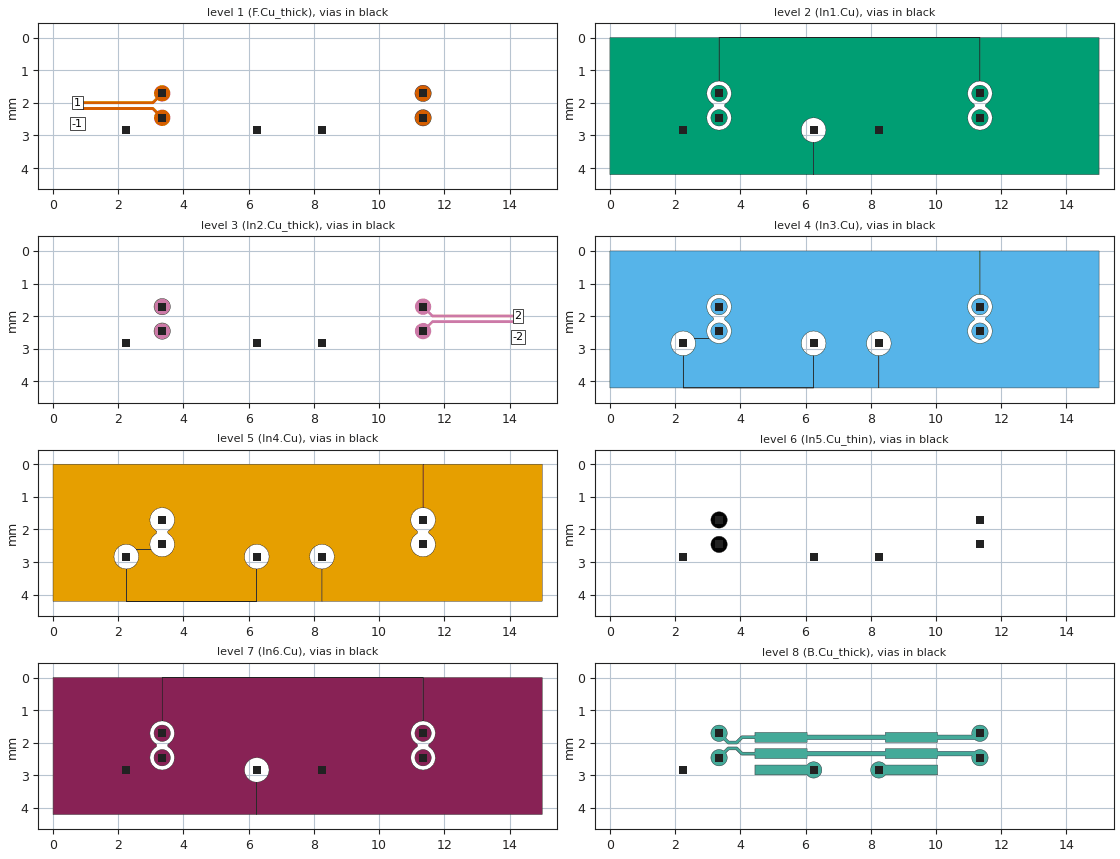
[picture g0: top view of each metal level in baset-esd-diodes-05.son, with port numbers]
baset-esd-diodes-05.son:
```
FTYP SONPROJ 19 ! Sonnet Project File
VER 18.56
HEADER
LIC antikernel2.1.52448
DAT 06/07/2023 00:24:25
BUILT_BY_CREATED dxf 18.56 06/07/2023 00:06:12
BUILT_BY_SAVED sonnet 18.56
MDATE 06/07/2023 00:24:25
HDATE 06/07/2023 00:24:25
ANN Created by dxfgeo, Sonnet Software Inc.
END HEADER
DIM
ANG DEG
CAP PF
CON /OH
FREQ GHZ
IND NH
LNG MM
RES OH
END DIM
CONTROL
VARSWP
OPTIONS  -dj
SPEED 1
CACHE_ABS 2
Q_ACC N
END CONTROL
GEO
TMET "Free Space" 0 FREESPACE 376.7303136 0 0 0
BMET "Free Space" 0 FREESPACE 376.7303136 0 0 0
MET "Copper_1oz_thin" 1 NOR 58000000 0.5 0.035 
MET "Copper_1oz_thick" 2 TMM 58000000 0.5 0.035 2
MET "Copper_0.5oz_thin" 4 NOR 58000000 0.5 0.017 
MET "Copper_0.5oz_thick" 12 TMM 58000000 0.5 0.017 2
MET "Copper_0.5oz_thick_down" 5 TMM 58000000 0.5 0.017 2 CDVY TDWN
MET "Copper_1oz_thick_down" 3 TMM 58000000 0.5 0.035 2 CDVY TDWN
BOX 10 15 4.2 3000 840 20 0
      5 1 1 0 0 0 0 "Air"
      0.04 3.5 1 0.025 0 0 0 "Soldermask"
      0.075 3.9 1 0.008 0 0 0 "TU-872_SLK"
      0.1 3.9 1 0.008 0 0 0 "TU-872_SLK"
      0.143 3.9 1 0.008 0 0 0 "TU-872_SLK"
      0.7 4.49 1 0.016 0 0 0 "Shengyi_S1000-2M"
      0.143 3.9 1 0.008 0 0 0 "TU-872_SLK"
      0.1 3.9 1 0.008 0 0 0 "TU-872_SLK"
      0.075 3.9 1 0.008 0 0 0 "TU-872_SLK"
      0.04 3.5 1 0.025 0 0 0 "Soldermask"
      5 1 1 0 0 0 0 "Air"
TECHLAY VIA Via1 L9D0 -13 -65534 CAD Via1 drawing 
VIA POLYGON
1 0 -1 N 798 1 1 100 100 0 0 0 Y
TOLEVEL 8 RING NOCOVERS
END
END
TECHLAY METAL F.Cu_thick L1D0 -2 -65534 CAD F.Cu_thick drawing 
1 0 1 N 521 1 1 100 100 0 0 0 Y
END
END
TECHLAY METAL F.Cu_thin <UNSPECIFIED> -1 -65534 CAD F.Cu_thin drawing 
1 0 0 N 523 1 1 100 100 0 0 0 Y
END
END
TECHLAY METAL In1.Cu L2D0 -3 -65534 CAD In1.Cu drawing 
2 0 0 N 526 1 1 100 100 0 0 0 Y
END
END
TECHLAY METAL In2.Cu_thick L3D0 -5 -65534 CAD In2.Cu_thick drawing 
3 0 3 N 529 1 1 100 100 0 0 0 Y
END
END
TECHLAY METAL In2.Cu_thin <UNSPECIFIED> -4 -65534 CAD In2.Cu drawing 
3 0 2 N 531 1 1 100 100 0 0 0 Y
END
END
TECHLAY METAL In3.Cu L4D0 -6 -65534 CAD In3.Cu drawing 
4 0 0 N 534 1 1 100 100 0 0 0 Y
END
END
TECHLAY METAL In4.Cu L5D0 -7 -65534 CAD In4.Cu drawing 
5 0 0 N 537 1 1 100 100 0 0 0 Y
END
END
TECHLAY METAL In5.Cu_thick L6D0 -9 -65534 CAD In5.Cu_thick drawing 
6 0 4 N 540 1 1 100 100 0 0 0 Y
END
END
TECHLAY METAL In5.Cu_thin <UNSPECIFIED> -8 -65534 CAD In5.Cu drawing 
6 0 2 N 542 1 1 100 100 0 0 0 Y
END
END
TECHLAY METAL In6.Cu L7D0 -10 -65534 CAD In6.Cu drawing 
7 0 0 N 545 1 1 100 100 0 0 0 Y
END
END
TECHLAY METAL B.Cu_thick L8D0 -12 -65534 CAD B.Cu_thick drawing 
8 0 5 N 548 1 1 100 100 0 0 0 Y
END
END
TECHLAY METAL B.Cu_thin <UNSPECIFIED> -11 -65534 CAD B.Cu_thin drawing 
8 0 0 N 550 1 1 100 100 0 0 0 Y
END
END
VALVAR CORE_ER NONE "table1(\"../../../sata-sniffer/sims/core_er.csv\",FREQ)" "Variable set in material file"
VALVAR CORE_DF NONE "table1(\"../../../sata-sniffer/sims/core_df.csv\",FREQ)" "Variable set in material file"
VALVAR PREPREG_DF NONE "table1(\"../../../sata-sniffer/sims/prepreg_df.csv\",FREQ)" "Variable set in material file"
VALVAR PREPREG_ER NONE "table1(\"../../../sata-sniffer/sims/prepreg_er.csv\",FREQ)" "Variable set in material file"
LORGN 0 4.2 U 
POR1 CUP Auto
GNDREF AUTO
TERMW FEED
POLY 669 1
70
1 100 0 0 0 0.75 1.993 
CUPGRP "Auto" LOCAL
ID 799
END
POR1 CUP Auto
GNDREF AUTO
TERMW FEED
POLY 668 1
44
-1 100 0 0 0 0.75 2.173 
CUPGRP "Auto" LOCAL
ID 800
END
POR1 CUP Auto
GNDREF AUTO
TERMW FEED
POLY 746 1
72
2 100 0 0 0 14.25 1.995 
CUPGRP "Auto" LOCAL
ID 801
END
POR1 CUP Auto
GNDREF AUTO
TERMW FEED
POLY 747 1
25
-2 100 0 0 0 14.25 2.1675 
CUPGRP "Auto" LOCAL
ID 802
END
NUM 37
1 74 1 N 669 1 1 100 100 0 0 0 Y
TLAYNAM F.Cu_thick INH
USER_DAT FromImport
3.073 2.037
3.077 2.035
3.082 2.034
3.085 2.032
3.093 2.026
3.096 2.023
3.098 2.02
3.205 1.913
3.218 1.922
3.24 1.934
3.263 1.943
3.286 1.951
3.31 1.955
3.335 1.958
3.359 1.958
3.384 1.955
3.408 1.951
3.431 1.943
3.454 1.934
3.476 1.922
3.496 1.909
3.515 1.893
3.532 1.876
3.548 1.857
3.561 1.837
3.573 1.815
3.582 1.792
3.59 1.769
3.594 1.745
3.597 1.72
3.597 1.696
3.594 1.671
3.59 1.647
3.582 1.624
3.573 1.601
3.561 1.579
3.548 1.559
3.532 1.54
3.515 1.523
3.496 1.507
3.476 1.494
3.454 1.482
3.431 1.473
3.408 1.465
3.384 1.461
3.359 1.458
3.335 1.458
3.31 1.461
3.286 1.465
3.263 1.473
3.24 1.482
3.218 1.494
3.198 1.507
3.179 1.523
3.162 1.54
3.146 1.559
3.133 1.579
3.121 1.601
3.112 1.624
3.104 1.647
3.1 1.671
3.097 1.696
3.097 1.72
3.1 1.745
3.104 1.769
3.112 1.792
3.121 1.815
3.133 1.837
3.142 1.85
3.044 1.948
0.75 1.948
0.75 2.038
3.069 2.038
3.073 2.037
END
1 72 1 N 668 1 1 100 100 0 0 0 Y
TLAYNAM F.Cu_thick INH
USER_DAT FromImport
3.384 2.705
3.408 2.701
3.431 2.693
3.454 2.684
3.476 2.672
3.496 2.659
3.515 2.643
3.532 2.626
3.548 2.607
3.561 2.587
3.573 2.565
3.582 2.542
3.59 2.519
3.594 2.495
3.597 2.47
3.597 2.446
3.594 2.421
3.59 2.397
3.582 2.374
3.573 2.351
3.561 2.329
3.548 2.309
3.532 2.29
3.515 2.273
3.496 2.257
3.476 2.244
3.454 2.232
3.431 2.223
3.408 2.215
3.384 2.211
3.359 2.208
3.335 2.208
3.31 2.211
3.286 2.215
3.263 2.223
3.24 2.232
3.218 2.244
3.205 2.253
3.089 2.137
3.085 2.134
3.081 2.132
3.077 2.131
3.073 2.129
3.069 2.128
0.75 2.128
0.75 2.218
3.044 2.218
3.142 2.316
3.133 2.329
3.121 2.351
3.112 2.374
3.104 2.397
3.1 2.421
3.097 2.446
3.097 2.47
3.1 2.495
3.104 2.519
3.112 2.542
3.121 2.565
3.133 2.587
3.146 2.607
3.162 2.626
3.179 2.643
3.198 2.659
3.218 2.672
3.24 2.684
3.263 2.693
3.286 2.701
3.31 2.705
3.335 2.708
3.359 2.708
3.384 2.705
END
1 65 1 N 46 1 1 100 100 0 0 0 Y
TLAYNAM F.Cu_thick INH
USER_DAT FromImport
11.335 2.708
11.31 2.705
11.286 2.701
11.263 2.693
11.24 2.684
11.218 2.672
11.198 2.659
11.179 2.643
11.162 2.626
11.146 2.607
11.133 2.587
11.121 2.565
11.112 2.542
11.104 2.519
11.1 2.495
11.097 2.47
11.097 2.446
11.1 2.421
11.104 2.397
11.112 2.374
11.121 2.351
11.133 2.329
11.146 2.309
11.162 2.29
11.179 2.273
11.198 2.257
11.218 2.244
11.24 2.232
11.263 2.223
11.286 2.215
11.31 2.211
11.335 2.208
11.359 2.208
11.384 2.211
11.408 2.215
11.431 2.223
11.454 2.232
11.476 2.244
11.496 2.257
11.515 2.273
11.532 2.29
11.548 2.309
11.561 2.329
11.573 2.351
11.582 2.374
11.59 2.397
11.594 2.421
11.597 2.446
11.597 2.47
11.594 2.495
11.59 2.519
11.582 2.542
11.573 2.565
11.561 2.587
11.548 2.607
11.532 2.626
11.515 2.643
11.496 2.659
11.476 2.672
11.454 2.684
11.431 2.693
11.408 2.701
11.384 2.705
11.359 2.708
11.335 2.708
END
1 65 1 N 47 1 1 100 100 0 0 0 Y
TLAYNAM F.Cu_thick INH
USER_DAT FromImport
11.335 1.958
11.31 1.955
11.286 1.951
11.263 1.943
11.24 1.934
11.218 1.922
11.198 1.909
11.179 1.893
11.162 1.876
11.146 1.857
11.133 1.837
11.121 1.815
11.112 1.792
11.104 1.769
11.1 1.745
11.097 1.72
11.097 1.696
11.1 1.671
11.104 1.647
11.112 1.624
11.121 1.601
11.133 1.579
11.146 1.559
11.162 1.54
11.179 1.523
11.198 1.507
11.218 1.494
11.24 1.482
11.263 1.473
11.286 1.465
11.31 1.461
11.335 1.458
11.359 1.458
11.384 1.461
11.408 1.465
11.431 1.473
11.454 1.482
11.476 1.494
11.496 1.507
11.515 1.523
11.532 1.54
11.548 1.559
11.561 1.579
11.573 1.601
11.582 1.624
11.59 1.647
11.594 1.671
11.597 1.696
11.597 1.72
11.594 1.745
11.59 1.769
11.582 1.792
11.573 1.815
11.561 1.837
11.548 1.857
11.532 1.876
11.515 1.893
11.496 1.909
11.476 1.922
11.454 1.934
11.431 1.943
11.408 1.951
11.384 1.955
11.359 1.958
11.335 1.958
END
VIA POLYGON
1 5 -1 N 479 1 1 100 100 0 0 0 Y
TOLEVEL 8 RING NOCOVERS
USER_DAT FromImport
2.122 2.958
2.122 2.708
2.372 2.708
2.372 2.958
2.122 2.958
END
VIA POLYGON
1 5 -1 N 480 1 1 100 100 0 0 0 Y
TOLEVEL 8 RING NOCOVERS
USER_DAT FromImport
6.122 2.958
6.122 2.708
6.372 2.708
6.372 2.958
6.122 2.958
END
VIA POLYGON
1 5 -1 N 481 1 1 100 100 0 0 0 Y
TOLEVEL 8 RING NOCOVERS
USER_DAT FromImport
8.122 2.958
8.122 2.708
8.372 2.708
8.372 2.958
8.122 2.958
END
VIA POLYGON
1 5 -1 N 482 1 1 100 100 0 0 0 Y
TOLEVEL 8 RING NOCOVERS
USER_DAT FromImport
3.222 2.583
3.222 2.333
3.472 2.333
3.472 2.583
3.222 2.583
END
VIA POLYGON
1 5 -1 N 483 1 1 100 100 0 0 0 Y
TOLEVEL 8 RING NOCOVERS
USER_DAT FromImport
11.222 2.583
11.222 2.333
11.472 2.333
11.472 2.583
11.222 2.583
END
VIA POLYGON
1 5 -1 N 484 1 1 100 100 0 0 0 Y
TOLEVEL 8 RING NOCOVERS
USER_DAT FromImport
3.222 1.833
3.222 1.583
3.472 1.583
3.472 1.833
3.222 1.833
END
VIA POLYGON
1 5 -1 N 485 1 1 100 100 0 0 0 Y
TOLEVEL 8 RING NOCOVERS
USER_DAT FromImport
11.222 1.833
11.222 1.583
11.472 1.583
11.472 1.833
11.222 1.833
END
2 65 0 N 91 1 1 100 100 0 0 0 Y
TLAYNAM In1.Cu INH
USER_DAT FromImport
11.335 1.958
11.31 1.955
11.286 1.951
11.263 1.943
11.24 1.934
11.218 1.922
11.198 1.909
11.179 1.893
11.162 1.876
11.146 1.857
11.133 1.837
11.121 1.815
11.112 1.792
11.104 1.769
11.1 1.745
11.097 1.72
11.097 1.696
11.1 1.671
11.104 1.647
11.112 1.624
11.121 1.601
11.133 1.579
11.146 1.559
11.162 1.54
11.179 1.523
11.198 1.507
11.218 1.494
11.24 1.482
11.263 1.473
11.286 1.465
11.31 1.461
11.335 1.458
11.359 1.458
11.384 1.461
11.408 1.465
11.431 1.473
11.454 1.482
11.476 1.494
11.496 1.507
11.515 1.523
11.532 1.54
11.548 1.559
11.561 1.579
11.573 1.601
11.582 1.624
11.59 1.647
11.594 1.671
11.597 1.696
11.597 1.72
11.594 1.745
11.59 1.769
11.582 1.792
11.573 1.815
11.561 1.837
11.548 1.857
11.532 1.876
11.515 1.893
11.496 1.909
11.476 1.922
11.454 1.934
11.431 1.943
11.408 1.951
11.384 1.955
11.359 1.958
11.335 1.958
END
2 65 0 N 88 1 1 100 100 0 0 0 Y
TLAYNAM In1.Cu INH
USER_DAT FromImport
3.335 2.708
3.31 2.705
3.286 2.701
3.263 2.693
3.24 2.684
3.218 2.672
3.198 2.659
3.179 2.643
3.162 2.626
3.146 2.607
3.133 2.587
3.121 2.565
3.112 2.542
3.104 2.519
3.1 2.495
3.097 2.47
3.097 2.446
3.1 2.421
3.104 2.397
3.112 2.374
3.121 2.351
3.133 2.329
3.146 2.309
3.162 2.29
3.179 2.273
3.198 2.257
3.218 2.244
3.24 2.232
3.263 2.223
3.286 2.215
3.31 2.211
3.335 2.208
3.359 2.208
3.384 2.211
3.408 2.215
3.431 2.223
3.454 2.232
3.476 2.244
3.496 2.257
3.515 2.273
3.532 2.29
3.548 2.309
3.561 2.329
3.573 2.351
3.582 2.374
3.59 2.397
3.594 2.421
3.597 2.446
3.597 2.47
3.594 2.495
3.59 2.519
3.582 2.542
3.573 2.565
3.561 2.587
3.548 2.607
3.532 2.626
3.515 2.643
3.496 2.659
3.476 2.672
3.454 2.684
3.431 2.693
3.408 2.701
3.384 2.705
3.359 2.708
3.335 2.708
END
2 65 0 N 90 1 1 100 100 0 0 0 Y
TLAYNAM In1.Cu INH
USER_DAT FromImport
3.335 1.958
3.31 1.955
3.286 1.951
3.263 1.943
3.24 1.934
3.218 1.922
3.198 1.909
3.179 1.893
3.162 1.876
3.146 1.857
3.133 1.837
3.121 1.815
3.112 1.792
3.104 1.769
3.1 1.745
3.097 1.72
3.097 1.696
3.1 1.671
3.104 1.647
3.112 1.624
3.121 1.601
3.133 1.579
3.146 1.559
3.162 1.54
3.179 1.523
3.198 1.507
3.218 1.494
3.24 1.482
3.263 1.473
3.286 1.465
3.31 1.461
3.335 1.458
3.359 1.458
3.384 1.461
3.408 1.465
3.431 1.473
3.454 1.482
3.476 1.494
3.496 1.507
3.515 1.523
3.532 1.54
3.548 1.559
3.561 1.579
3.573 1.601
3.582 1.624
3.59 1.647
3.594 1.671
3.597 1.696
3.597 1.72
3.594 1.745
3.59 1.769
3.582 1.792
3.573 1.815
3.561 1.837
3.548 1.857
3.532 1.876
3.515 1.893
3.496 1.909
3.476 1.922
3.454 1.934
3.431 1.943
3.408 1.951
3.384 1.955
3.359 1.958
3.335 1.958
END
2 65 0 N 89 1 1 100 100 0 0 0 Y
TLAYNAM In1.Cu INH
USER_DAT FromImport
11.335 2.708
11.31 2.705
11.286 2.701
11.263 2.693
11.24 2.684
11.218 2.672
11.198 2.659
11.179 2.643
11.162 2.626
11.146 2.607
11.133 2.587
11.121 2.565
11.112 2.542
11.104 2.519
11.1 2.495
11.097 2.47
11.097 2.446
11.1 2.421
11.104 2.397
11.112 2.374
11.121 2.351
11.133 2.329
11.146 2.309
11.162 2.29
11.179 2.273
11.198 2.257
11.218 2.244
11.24 2.232
11.263 2.223
11.286 2.215
11.31 2.211
11.335 2.208
11.359 2.208
11.384 2.211
11.408 2.215
11.431 2.223
11.454 2.232
11.476 2.244
11.496 2.257
11.515 2.273
11.532 2.29
11.548 2.309
11.561 2.329
11.573 2.351
11.582 2.374
11.59 2.397
11.594 2.421
11.597 2.446
11.597 2.47
11.594 2.495
11.59 2.519
11.582 2.542
11.573 2.565
11.561 2.587
11.548 2.607
11.532 2.626
11.515 2.643
11.496 2.659
11.476 2.672
11.454 2.684
11.431 2.693
11.408 2.701
11.384 2.705
11.359 2.708
11.335 2.708
END
2 172 0 N 767 1 1 100 100 0 0 0 Y
TLAYNAM In1.Cu INH
15 -2.220446049e-16
3.347 -2.220446049e-16
3.347 1.328
3.352 1.329
3.398 1.336
3.464 1.346
3.57 1.4
3.655 1.485
3.709 1.591
3.716 1.638
3.719 1.656
3.727 1.708
3.726 1.713
3.722 1.739
3.709 1.825
3.655 1.931
3.57 2.016
3.546 2.028
3.519 2.055
3.515 2.102
3.546 2.138
3.57 2.15
3.655 2.235
3.709 2.341
3.726 2.453
3.727 2.458
3.726 2.463
3.725 2.471
3.709 2.575
3.655 2.681
3.57 2.766
3.57 2.766
3.57 2.766
3.57 2.766
3.464 2.82
3.412 2.828
3.347 2.838
3.23 2.82
3.124 2.766
3.039 2.681
2.985 2.575
2.969 2.471
2.968 2.463
2.967 2.458
2.985 2.341
3.039 2.235
3.124 2.15
3.148 2.138
3.175 2.111
3.179 2.064
3.148 2.028
3.124 2.016
3.039 1.931
2.985 1.825
2.972 1.739
2.968 1.713
2.967 1.708
2.975 1.656
2.978 1.638
2.985 1.591
3.039 1.485
3.124 1.4
3.23 1.346
3.296 1.336
3.342 1.329
3.347 1.328
3.347 -2.220446049e-16
11.347 -2.220446049e-16
11.347 1.328
11.352 1.329
11.398 1.336
11.464 1.346
11.57 1.4
11.655 1.485
11.709 1.591
11.716 1.638
11.719 1.656
11.72469231 1.693
11.727 1.708
11.726 1.713
11.722 1.739
11.709 1.825
11.69 1.862
11.655 1.931
11.57 2.016
11.546 2.028
11.519 2.055
11.515 2.102
11.546 2.138
11.57 2.15
11.655 2.235
11.709 2.341
11.727 2.458
11.726 2.463
11.725 2.471
11.709 2.575
11.655 2.681
11.57 2.766
11.464 2.82
11.347 2.838
11.23 2.82
11.124 2.766
11.039 2.681
10.985 2.575
10.969 2.471
10.968 2.463
10.967 2.458
10.985 2.341
11.039 2.235
11.124 2.15
11.148 2.138
11.175 2.111
11.179 2.064
11.148 2.028
11.124 2.016
11.039 1.931
10.985 1.825
10.972 1.739
10.968 1.713
10.967 1.708
10.975 1.656
10.978 1.638
10.985 1.591
11.039 1.485
11.124 1.4
11.23 1.346
11.296 1.336
11.342 1.329
11.347 1.328
11.347 -2.220446049e-16
0 -2.220446049e-16
0 0.975
0 4.2
6.247 4.2
6.247 3.213
6.13 3.195
6.024 3.141
5.939 3.056
5.885 2.95
5.869 2.846
5.868 2.838
5.867 2.833
5.869 2.82
5.885 2.721
5.885 2.716
5.939 2.61
6.024 2.525
6.13 2.471
6.222 2.457
6.242 2.454
6.247 2.453
6.252 2.454
6.272 2.457
6.28 2.458
6.364 2.471
6.47 2.525
6.555 2.61
6.609 2.716
6.609 2.721
6.625 2.82
6.626 2.828
6.627 2.833
6.626 2.838
6.625 2.846
6.609 2.95
6.555 3.056
6.47 3.141
6.364 3.195
6.247 3.213
6.247 4.2
15 4.2
15 -2.220446049e-16
END
3 65 3 N 146 1 1 100 100 0 0 0 Y
TLAYNAM In2.Cu_thick INH
USER_DAT FromImport
3.335 2.708
3.31 2.705
3.286 2.701
3.263 2.693
3.24 2.684
3.218 2.672
3.198 2.659
3.179 2.643
3.162 2.626
3.146 2.607
3.133 2.587
3.121 2.565
3.112 2.542
3.104 2.519
3.1 2.495
3.097 2.47
3.097 2.446
3.1 2.421
3.104 2.397
3.112 2.374
3.121 2.351
3.133 2.329
3.146 2.309
3.162 2.29
3.179 2.273
3.198 2.257
3.218 2.244
3.24 2.232
3.263 2.223
3.286 2.215
3.31 2.211
3.335 2.208
3.359 2.208
3.384 2.211
3.408 2.215
3.431 2.223
3.454 2.232
3.476 2.244
3.496 2.257
3.515 2.273
3.532 2.29
3.548 2.309
3.561 2.329
3.573 2.351
3.582 2.374
3.59 2.397
3.594 2.421
3.597 2.446
3.597 2.47
3.594 2.495
3.59 2.519
3.582 2.542
3.573 2.565
3.561 2.587
3.548 2.607
3.532 2.626
3.515 2.643
3.496 2.659
3.476 2.672
3.454 2.684
3.431 2.693
3.408 2.701
3.384 2.705
3.359 2.708
3.335 2.708
END
3 65 3 N 147 1 1 100 100 0 0 0 Y
TLAYNAM In2.Cu_thick INH
USER_DAT FromImport
3.335 1.958
3.31 1.955
3.286 1.951
3.263 1.943
3.24 1.934
3.218 1.922
3.198 1.909
3.179 1.893
3.162 1.876
3.146 1.857
3.133 1.837
3.121 1.815
3.112 1.792
3.104 1.769
3.1 1.745
3.097 1.72
3.097 1.696
3.1 1.671
3.104 1.647
3.112 1.624
3.121 1.601
3.133 1.579
3.146 1.559
3.162 1.54
3.179 1.523
3.198 1.507
3.218 1.494
3.24 1.482
3.263 1.473
3.286 1.465
3.31 1.461
3.335 1.458
3.359 1.458
3.384 1.461
3.408 1.465
3.431 1.473
3.454 1.482
3.476 1.494
3.496 1.507
3.515 1.523
3.532 1.54
3.548 1.559
3.561 1.579
3.573 1.601
3.582 1.624
3.59 1.647
3.594 1.671
3.597 1.696
3.597 1.72
3.594 1.745
3.59 1.769
3.582 1.792
3.573 1.815
3.561 1.837
3.548 1.857
3.532 1.876
3.515 1.893
3.496 1.909
3.476 1.922
3.454 1.934
3.431 1.943
3.408 1.951
3.384 1.955
3.359 1.958
3.335 1.958
END
3 74 3 N 746 1 1 100 100 0 0 0 Y
TLAYNAM In2.Cu_thick INH
14.25 1.95
11.65 1.95
11.65 1.954
11.55 1.854
11.561 1.837
11.573 1.815
11.582 1.792
11.59 1.769
11.594 1.745
11.597 1.72
11.597 1.696
11.594 1.671
11.59 1.647
11.582 1.624
11.573 1.601
11.561 1.579
11.548 1.559
11.532 1.54
11.515 1.523
11.496 1.507
11.476 1.494
11.454 1.482
11.431 1.473
11.408 1.465
11.384 1.461
11.359 1.458
11.335 1.458
11.31 1.461
11.286 1.465
11.263 1.473
11.24 1.482
11.218 1.494
11.198 1.507
11.179 1.523
11.162 1.54
11.146 1.559
11.133 1.579
11.121 1.601
11.112 1.624
11.104 1.647
11.1 1.671
11.097 1.696
11.097 1.72
11.1 1.745
11.104 1.769
11.112 1.792
11.121 1.815
11.133 1.837
11.146 1.857
11.162 1.876
11.179 1.893
11.198 1.909
11.218 1.922
11.24 1.934
11.263 1.943
11.286 1.951
11.31 1.955
11.335 1.958
11.359 1.958
11.384 1.955
11.408 1.951
11.431 1.943
11.454 1.934
11.476 1.922
11.493 1.911
11.613 2.031
11.616 2.033
11.62 2.035
11.623 2.036
11.635 2.039
11.65 2.039
11.65 2.04
14.25 2.04
14.25 1.95
END
3 75 3 N 747 1 1 100 100 0 0 0 Y
TLAYNAM In2.Cu_thick INH
USER_DAT FromImport
11.384 2.705
11.408 2.701
11.431 2.693
11.454 2.684
11.476 2.672
11.496 2.659
11.515 2.643
11.532 2.626
11.548 2.607
11.561 2.587
11.573 2.565
11.582 2.542
11.59 2.519
11.594 2.495
11.597 2.47
11.597 2.446
11.594 2.421
11.59 2.397
11.582 2.374
11.573 2.351
11.561 2.329
11.55 2.312
11.649 2.213
11.65 2.213998925
11.65 2.21
14.25 2.21
14.25 2.125
11.65 2.125
11.65 2.127
11.635 2.127
11.623 2.13
11.62 2.131
11.616 2.133
11.613 2.135
11.493 2.255
11.476 2.244
11.454 2.232
11.431 2.223
11.408 2.215
11.384 2.211
11.359 2.208
11.335 2.208
11.31 2.211
11.286 2.215
11.263 2.223
11.24 2.232
11.218 2.244
11.198 2.257
11.179 2.273
11.162 2.29
11.146 2.309
11.133 2.329
11.121 2.351
11.112 2.374
11.104 2.397
11.1 2.421
11.097 2.446
11.097 2.47
11.1 2.495
11.104 2.519
11.112 2.542
11.121 2.565
11.133 2.587
11.146 2.607
11.162 2.626
11.179 2.643
11.198 2.659
11.218 2.672
11.24 2.684
11.263 2.693
11.286 2.701
11.31 2.705
11.335 2.708
11.359 2.708
11.384 2.705
END
4 65 0 N 202 1 1 100 100 0 0 0 Y
TLAYNAM In3.Cu INH
USER_DAT FromImport
11.335 1.958
11.31 1.955
11.286 1.951
11.263 1.943
11.24 1.934
11.218 1.922
11.198 1.909
11.179 1.893
11.162 1.876
11.146 1.857
11.133 1.837
11.121 1.815
11.112 1.792
11.104 1.769
11.1 1.745
11.097 1.72
11.097 1.696
11.1 1.671
11.104 1.647
11.112 1.624
11.121 1.601
11.133 1.579
11.146 1.559
11.162 1.54
11.179 1.523
11.198 1.507
11.218 1.494
11.24 1.482
11.263 1.473
11.286 1.465
11.31 1.461
11.335 1.458
11.359 1.458
11.384 1.461
11.408 1.465
11.431 1.473
11.454 1.482
11.476 1.494
11.496 1.507
11.515 1.523
11.532 1.54
11.548 1.559
11.561 1.579
11.573 1.601
11.582 1.624
11.59 1.647
11.594 1.671
11.597 1.696
11.597 1.72
11.594 1.745
11.59 1.769
11.582 1.792
11.573 1.815
11.561 1.837
11.548 1.857
11.532 1.876
11.515 1.893
11.496 1.909
11.476 1.922
11.454 1.934
11.431 1.943
11.408 1.951
11.384 1.955
11.359 1.958
11.335 1.958
END
4 65 0 N 201 1 1 100 100 0 0 0 Y
TLAYNAM In3.Cu INH
USER_DAT FromImport
3.335 1.958
3.31 1.955
3.286 1.951
3.263 1.943
3.24 1.934
3.218 1.922
3.198 1.909
3.179 1.893
3.162 1.876
3.146 1.857
3.133 1.837
3.121 1.815
3.112 1.792
3.104 1.769
3.1 1.745
3.097 1.72
3.097 1.696
3.1 1.671
3.104 1.647
3.112 1.624
3.121 1.601
3.133 1.579
3.146 1.559
3.162 1.54
3.179 1.523
3.198 1.507
3.218 1.494
3.24 1.482
3.263 1.473
3.286 1.465
3.31 1.461
3.335 1.458
3.359 1.458
3.384 1.461
3.408 1.465
3.431 1.473
3.454 1.482
3.476 1.494
3.496 1.507
3.515 1.523
3.532 1.54
3.548 1.559
3.561 1.579
3.573 1.601
3.582 1.624
3.59 1.647
3.594 1.671
3.597 1.696
3.597 1.72
3.594 1.745
3.59 1.769
3.582 1.792
3.573 1.815
3.561 1.837
3.548 1.857
3.532 1.876
3.515 1.893
3.496 1.909
3.476 1.922
3.454 1.934
3.431 1.943
3.408 1.951
3.384 1.955
3.359 1.958
3.335 1.958
END
4 65 0 N 200 1 1 100 100 0 0 0 Y
TLAYNAM In3.Cu INH
USER_DAT FromImport
11.335 2.708
11.31 2.705
11.286 2.701
11.263 2.693
11.24 2.684
11.218 2.672
11.198 2.659
11.179 2.643
11.162 2.626
11.146 2.607
11.133 2.587
11.121 2.565
11.112 2.542
11.104 2.519
11.1 2.495
11.097 2.47
11.097 2.446
11.1 2.421
11.104 2.397
11.112 2.374
11.121 2.351
11.133 2.329
11.146 2.309
11.162 2.29
11.179 2.273
11.198 2.257
11.218 2.244
11.24 2.232
11.263 2.223
11.286 2.215
11.31 2.211
11.335 2.208
11.359 2.208
11.384 2.211
11.408 2.215
11.431 2.223
11.454 2.232
11.476 2.244
11.496 2.257
11.515 2.273
11.532 2.29
11.548 2.309
11.561 2.329
11.573 2.351
11.582 2.374
11.59 2.397
11.594 2.421
11.597 2.446
11.597 2.47
11.594 2.495
11.59 2.519
11.582 2.542
11.573 2.565
11.561 2.587
11.548 2.607
11.532 2.626
11.515 2.643
11.496 2.659
11.476 2.672
11.454 2.684
11.431 2.693
11.408 2.701
11.384 2.705
11.359 2.708
11.335 2.708
END
4 65 0 N 199 1 1 100 100 0 0 0 Y
TLAYNAM In3.Cu INH
USER_DAT FromImport
3.335 2.708
3.31 2.705
3.286 2.701
3.263 2.693
3.24 2.684
3.218 2.672
3.198 2.659
3.179 2.643
3.162 2.626
3.146 2.607
3.133 2.587
3.121 2.565
3.112 2.542
3.104 2.519
3.1 2.495
3.097 2.47
3.097 2.446
3.1 2.421
3.104 2.397
3.112 2.374
3.121 2.351
3.133 2.329
3.146 2.309
3.162 2.29
3.179 2.273
3.198 2.257
3.218 2.244
3.24 2.232
3.263 2.223
3.286 2.215
3.31 2.211
3.335 2.208
3.359 2.208
3.384 2.211
3.408 2.215
3.431 2.223
3.454 2.232
3.476 2.244
3.496 2.257
3.515 2.273
3.532 2.29
3.548 2.309
3.561 2.329
3.573 2.351
3.582 2.374
3.59 2.397
3.594 2.421
3.597 2.446
3.597 2.47
3.594 2.495
3.59 2.519
3.582 2.542
3.573 2.565
3.561 2.587
3.548 2.607
3.532 2.626
3.515 2.643
3.496 2.659
3.476 2.672
3.454 2.684
3.431 2.693
3.408 2.701
3.384 2.705
3.359 2.708
3.335 2.708
END
4 251 0 N 768 1 1 100 100 0 0 0 Y
TLAYNAM In3.Cu INH
15 -2.220446049e-16
11.347 -2.220446049e-16
11.347 1.328
11.464 1.346
11.501 1.365
11.57 1.4
11.655 1.485
11.709 1.591
11.716 1.639
11.724 1.687
11.727 1.708
11.726 1.713
11.722 1.743
11.709 1.825
11.688 1.865
11.655 1.931
11.57 2.016
11.546 2.028
11.519 2.055
11.515 2.102
11.546 2.138
11.57 2.15
11.655 2.235
11.709 2.341
11.715 2.382
11.727 2.458
11.726 2.463
11.723 2.485
11.722 2.493
11.709 2.575
11.655 2.681
11.57 2.766
11.464 2.82
11.347 2.838
11.23 2.82
11.124 2.766
11.039 2.681
11.039 2.681
11.039 2.681
10.985 2.575
10.971 2.485
10.968 2.463
10.967 2.458
10.985 2.341
11.039 2.235
11.124 2.15
11.148 2.138
11.175 2.111
11.179 2.064
11.148 2.028
11.124 2.016
11.039 1.931
10.985 1.825
10.972 1.743
10.968 1.713
10.967 1.708
10.97 1.687
10.978 1.639
10.985 1.591
11.039 1.485
11.124 1.4
11.23 1.346
11.347 1.328
11.347 -2.220446049e-16
0 -2.220446049e-16
0 0.975
0 4.2
6.247 4.2
6.247 3.213
6.235 3.211
6.134 3.195
6.13 3.195
6.024 3.141
5.939 3.056
5.885 2.95
5.869 2.846
5.868 2.838
5.867 2.833
5.869 2.82
5.884 2.721
5.885 2.716
5.939 2.61
6.024 2.525
6.13 2.471
6.222 2.457
6.242 2.454
6.247 2.453
6.252 2.454
6.272 2.457
6.364 2.471
6.47 2.525
6.555 2.61
6.609 2.716
6.61 2.721
6.625 2.82
6.627 2.833
6.626 2.838
6.625 2.846
6.609 2.95
6.555 3.056
6.47 3.141
6.364 3.195
6.36 3.195
6.259 3.211
6.247 3.213
6.247 4.2
2.247 4.2
2.247 3.213
2.235 3.211
2.134 3.195
2.13 3.195
2.024 3.141
1.939 3.056
1.885 2.95
1.869 2.846
1.868 2.838
1.867 2.833
1.869 2.82
1.884 2.721
1.885 2.716
1.939 2.61
2.024 2.525
2.13 2.471
2.222 2.457
2.242 2.454
2.247 2.453
2.252 2.454
2.272 2.457
2.28 2.458
2.364 2.471
2.47 2.525
2.555 2.61
2.591169811 2.681
3.039 2.681
3.039 2.681
2.985 2.575
2.971 2.485
2.968 2.463
2.967 2.458
2.985 2.341
3.039 2.235
3.124 2.15
3.148 2.138
3.175 2.111
3.179 2.064
3.148 2.028
3.124 2.016
3.039 1.931
2.985 1.825
2.972 1.743
2.968 1.713
2.967 1.708
2.97 1.687
2.978 1.639
2.985 1.591
3.039 1.485
3.124 1.4
3.23 1.346
3.347 1.328
3.464 1.346
3.57 1.4
3.655 1.485
3.709 1.591
3.716 1.639
3.724 1.687
3.727 1.708
3.726 1.713
3.722 1.743
3.709 1.825
3.655 1.931
3.57 2.016
3.546 2.028
3.519 2.055
3.515 2.102
3.546 2.138
3.57 2.15
3.655 2.235
3.709 2.341
3.726 2.453
3.727 2.458
3.726 2.463
3.723 2.485
3.71 2.568571429
3.709 2.575
3.691169811 2.61
3.655 2.681
3.57 2.766
3.464 2.82
3.412 2.828
3.347 2.838
3.23 2.82
3.124 2.766
3.039 2.681
2.591169811 2.681
2.609 2.716
2.61 2.721
2.625 2.82
2.627 2.833
2.626 2.838
2.625 2.846
2.609 2.95
2.555 3.056
2.47 3.141
2.364 3.195
2.36 3.195
2.259 3.211
2.247 3.213
2.247 4.2
8.247 4.2
8.247 3.213
8.235 3.211
8.134 3.195
8.13 3.195
8.024 3.141
7.939 3.056
7.885 2.95
7.869 2.846
7.868 2.838
7.867 2.833
7.869 2.82
7.884 2.721
7.885 2.716
7.939 2.61
8.024 2.525
8.13 2.471
8.222 2.457
8.242 2.454
8.247 2.453
8.252 2.454
8.272 2.457
8.28 2.458
8.364 2.471
8.47 2.525
8.555 2.61
8.609 2.716
8.61 2.721
8.625 2.82
8.626 2.828
8.627 2.833
8.626 2.838
8.625 2.846
8.609 2.95
8.555 3.056
8.47 3.141
8.364 3.195
8.36 3.195
8.259 3.211
8.247 3.213
8.247 4.2
15 4.2
15 -2.220446049e-16
END
5 249 0 N 769 1 1 100 100 0 0 0 Y
TLAYNAM In4.Cu INH
15 -2.220446049e-16
11.347 -2.220446049e-16
11.347 1.328
11.464 1.346
11.501 1.365
11.57 1.4
11.655 1.485
11.709 1.591
11.716 1.639
11.724 1.687
11.727 1.708
11.726 1.713
11.722 1.743
11.709 1.825
11.688 1.865
11.655 1.931
11.57 2.016
11.546 2.028
11.519 2.055
11.515 2.102
11.546 2.138
11.57 2.15
11.655 2.235
11.709 2.341
11.715 2.382
11.727 2.458
11.726 2.463
11.723 2.485
11.722 2.493
11.709 2.575
11.655 2.681
11.57 2.766
11.464 2.82
11.347 2.838
11.23 2.82
11.124 2.766
11.039 2.681
10.985 2.575
10.971 2.485
10.968 2.463
10.967 2.458
10.985 2.341
11.039 2.235
11.124 2.15
11.148 2.138
11.175 2.111
11.179 2.064
11.148 2.028
11.124 2.016
11.039 1.931
10.985 1.825
10.972 1.743
10.968 1.713
10.967 1.708
10.97 1.687
10.978 1.639
10.985 1.591
11.039 1.485
11.124 1.4
11.23 1.346
11.347 1.328
11.347 -2.220446049e-16
0 -2.220446049e-16
0 0.975
0 4.2
6.247 4.2
6.247 3.213
6.235 3.211
6.134 3.195
6.13 3.195
6.024 3.141
5.939 3.056
5.885 2.95
5.869 2.846
5.868 2.838
5.867 2.833
5.869 2.82
5.884 2.721
5.885 2.716
5.939 2.61
6.024 2.525
6.13 2.471
6.222 2.457
6.242 2.454
6.247 2.453
6.252 2.454
6.272 2.457
6.364 2.471
6.47 2.525
6.555 2.61
6.609 2.716
6.61 2.721
6.625 2.82
6.627 2.833
6.626 2.838
6.625 2.846
6.609 2.95
6.555 3.056
6.47 3.141
6.364 3.195
6.36 3.195
6.259 3.211
6.247 3.213
6.247 4.2
2.247 4.2
2.247 3.213
2.235 3.211
2.134 3.195
2.13 3.195
2.024 3.141
1.939 3.056
1.885 2.95
1.869 2.846
1.868 2.838
1.867 2.833
1.869 2.82
1.884 2.721
1.885 2.716
1.939 2.61
2.024 2.525
2.13 2.471
2.222 2.457
2.242 2.454
2.247 2.453
2.252 2.454
2.272 2.457
2.28 2.458
2.364 2.471
2.47 2.525
2.555 2.61
3.002830189 2.61
2.985 2.575
2.971 2.485
2.968 2.463
2.967 2.458
2.985 2.341
3.039 2.235
3.124 2.15
3.148 2.138
3.175 2.111
3.179 2.064
3.148 2.028
3.124 2.016
3.039 1.931
2.985 1.825
2.972 1.743
2.968 1.713
2.967 1.708
2.97 1.687
2.978 1.639
2.985 1.591
3.039 1.485
3.124 1.4
3.23 1.346
3.347 1.328
3.464 1.346
3.57 1.4
3.655 1.485
3.709 1.591
3.716 1.639
3.724 1.687
3.727 1.708
3.726 1.713
3.722 1.743
3.709 1.825
3.655 1.931
3.57 2.016
3.546 2.028
3.519 2.055
3.515 2.102
3.546 2.138
3.57 2.15
3.655 2.235
3.709 2.341
3.726 2.453
3.727 2.458
3.726 2.463
3.723 2.485
3.71 2.568571429
3.709 2.575
3.691169811 2.61
3.655 2.681
3.57 2.766
3.464 2.82
3.412 2.828
3.347 2.838
3.23 2.82
3.124 2.766
3.039 2.681
3.002830189 2.61
2.555 2.61
2.591169811 2.681
2.609 2.716
2.61 2.721
2.625 2.82
2.627 2.833
2.626 2.838
2.625 2.846
2.609 2.95
2.555 3.056
2.47 3.141
2.364 3.195
2.36 3.195
2.259 3.211
2.247 3.213
2.247 4.2
8.247 4.2
8.247 3.213
8.235 3.211
8.134 3.195
8.13 3.195
8.024 3.141
7.939 3.056
7.885 2.95
7.869 2.846
7.868 2.838
7.867 2.833
7.869 2.82
7.884 2.721
7.885 2.716
7.939 2.61
8.024 2.525
8.13 2.471
8.222 2.457
8.242 2.454
8.247 2.453
8.252 2.454
8.272 2.457
8.28 2.458
8.364 2.471
8.47 2.525
8.555 2.61
8.609 2.716
8.61 2.721
8.625 2.82
8.626 2.828
8.627 2.833
8.626 2.838
8.625 2.846
8.609 2.95
8.555 3.056
8.47 3.141
8.364 3.195
8.36 3.195
8.259 3.211
8.247 3.213
8.247 4.2
15 4.2
15 -2.220446049e-16
END
6 65 2 N 719 1 1 100 100 0 0 0 Y
TLAYNAM In5.Cu_thin INH
USER_DAT FromImport
3.384 1.955
3.408 1.951
3.431 1.943
3.454 1.934
3.476 1.922
3.496 1.909
3.515 1.893
3.532 1.876
3.548 1.857
3.561 1.837
3.573 1.815
3.582 1.792
3.59 1.769
3.594 1.745
3.597 1.72
3.597 1.696
3.594 1.671
3.59 1.647
3.582 1.624
3.573 1.601
3.561 1.579
3.548 1.559
3.532 1.54
3.515 1.523
3.496 1.507
3.476 1.494
3.454 1.482
3.431 1.473
3.408 1.465
3.384 1.461
3.359 1.458
3.335 1.458
3.31 1.461
3.286 1.465
3.263 1.473
3.24 1.482
3.218 1.494
3.198 1.507
3.179 1.523
3.162 1.54
3.146 1.559
3.133 1.579
3.121 1.601
3.112 1.624
3.104 1.647
3.1 1.671
3.097 1.696
3.097 1.72
3.1 1.745
3.104 1.769
3.112 1.792
3.121 1.815
3.133 1.837
3.146 1.857
3.162 1.876
3.179 1.893
3.198 1.909
3.218 1.922
3.24 1.934
3.263 1.943
3.286 1.951
3.31 1.955
3.335 1.958
3.359 1.958
3.384 1.955
END
6 65 2 N 720 1 1 100 100 0 0 0 Y
TLAYNAM In5.Cu_thin INH
USER_DAT FromImport
3.384 2.705
3.408 2.701
3.431 2.693
3.454 2.684
3.476 2.672
3.496 2.659
3.515 2.643
3.532 2.626
3.548 2.607
3.561 2.587
3.573 2.565
3.582 2.542
3.59 2.519
3.594 2.495
3.597 2.47
3.597 2.446
3.594 2.421
3.59 2.397
3.582 2.374
3.573 2.351
3.561 2.329
3.548 2.309
3.532 2.29
3.515 2.273
3.496 2.257
3.476 2.244
3.454 2.232
3.431 2.223
3.408 2.215
3.384 2.211
3.359 2.208
3.335 2.208
3.31 2.211
3.286 2.215
3.263 2.223
3.24 2.232
3.218 2.244
3.198 2.257
3.179 2.273
3.162 2.29
3.146 2.309
3.133 2.329
3.121 2.351
3.112 2.374
3.104 2.397
3.1 2.421
3.097 2.446
3.097 2.47
3.1 2.495
3.104 2.519
3.112 2.542
3.121 2.565
3.133 2.587
3.146 2.607
3.162 2.626
3.179 2.643
3.198 2.659
3.218 2.672
3.24 2.684
3.263 2.693
3.286 2.701
3.31 2.705
3.335 2.708
3.359 2.708
3.384 2.705
END
7 169 0 N 770 1 1 100 100 0 0 0 Y
TLAYNAM In6.Cu INH
15 -2.220446049e-16
3.347 -2.220446049e-16
3.347 1.328
3.352 1.329
3.398 1.336
3.464 1.346
3.57 1.4
3.655 1.485
3.709 1.591
3.716 1.638
3.719 1.656
3.727 1.708
3.726 1.713
3.722 1.739
3.709 1.825
3.655 1.931
3.57 2.016
3.546 2.028
3.519 2.055
3.515 2.102
3.546 2.138
3.57 2.15
3.655 2.235
3.709 2.341
3.726 2.453
3.727 2.458
3.726 2.463
3.725 2.471
3.709 2.575
3.655 2.681
3.57 2.766
3.464 2.82
3.412 2.828
3.347 2.838
3.23 2.82
3.124 2.766
3.039 2.681
2.985 2.575
2.969 2.471
2.968 2.463
2.967 2.458
2.985 2.341
3.039 2.235
3.124 2.15
3.148 2.138
3.175 2.111
3.179 2.064
3.148 2.028
3.124 2.016
3.039 1.931
2.985 1.825
2.972 1.739
2.968 1.713
2.967 1.708
2.975 1.656
2.978 1.638
2.985 1.591
3.039 1.485
3.124 1.4
3.23 1.346
3.296 1.336
3.342 1.329
3.347 1.328
3.347 -2.220446049e-16
11.347 -2.220446049e-16
11.347 1.328
11.352 1.329
11.398 1.336
11.464 1.346
11.57 1.4
11.655 1.485
11.709 1.591
11.716 1.638
11.719 1.656
11.72469231 1.693
11.727 1.708
11.726 1.713
11.722 1.739
11.709 1.825
11.69 1.862
11.655 1.931
11.57 2.016
11.546 2.028
11.519 2.055
11.515 2.102
11.546 2.138
11.57 2.15
11.655 2.235
11.709 2.341
11.727 2.458
11.726 2.463
11.725 2.471
11.709 2.575
11.655 2.681
11.57 2.766
11.464 2.82
11.347 2.838
11.23 2.82
11.124 2.766
11.039 2.681
10.985 2.575
10.969 2.471
10.968 2.463
10.967 2.458
10.985 2.341
11.039 2.235
11.124 2.15
11.148 2.138
11.175 2.111
11.179 2.064
11.148 2.028
11.124 2.016
11.039 1.931
10.985 1.825
10.972 1.739
10.968 1.713
10.967 1.708
10.975 1.656
10.978 1.638
10.985 1.591
11.039 1.485
11.124 1.4
11.23 1.346
11.296 1.336
11.342 1.329
11.347 1.328
11.347 -2.220446049e-16
0 -2.220446049e-16
0 0.975
0 4.2
6.247 4.2
6.247 3.213
6.13 3.195
6.024 3.141
5.939 3.056
5.885 2.95
5.869 2.846
5.868 2.838
5.867 2.833
5.869 2.82
5.885 2.721
5.885 2.716
5.939 2.61
6.024 2.525
6.13 2.471
6.222 2.457
6.242 2.454
6.247 2.453
6.252 2.454
6.272 2.457
6.28 2.458
6.364 2.471
6.47 2.525
6.555 2.61
6.609 2.716
6.609 2.721
6.625 2.82
6.626 2.828
6.627 2.833
6.626 2.838
6.625 2.846
6.609 2.95
6.555 3.056
6.47 3.141
6.364 3.195
6.247 3.213
6.247 4.2
15 4.2
15 -2.220446049e-16
END
7 65 0 N 371 1 1 100 100 0 0 0 Y
USER_DAT FromImport
3.335 2.708
3.31 2.705
3.286 2.701
3.263 2.693
3.24 2.684
3.218 2.672
3.198 2.659
3.179 2.643
3.162 2.626
3.146 2.607
3.133 2.587
3.121 2.565
3.112 2.542
3.104 2.519
3.1 2.495
3.097 2.47
3.097 2.446
3.1 2.421
3.104 2.397
3.112 2.374
3.121 2.351
3.133 2.329
3.146 2.309
3.162 2.29
3.179 2.273
3.198 2.257
3.218 2.244
3.24 2.232
3.263 2.223
3.286 2.215
3.31 2.211
3.335 2.208
3.359 2.208
3.384 2.211
3.408 2.215
3.431 2.223
3.454 2.232
3.476 2.244
3.496 2.257
3.515 2.273
3.532 2.29
3.548 2.309
3.561 2.329
3.573 2.351
3.582 2.374
3.59 2.397
3.594 2.421
3.597 2.446
3.597 2.47
3.594 2.495
3.59 2.519
3.582 2.542
3.573 2.565
3.561 2.587
3.548 2.607
3.532 2.626
3.515 2.643
3.496 2.659
3.476 2.672
3.454 2.684
3.431 2.693
3.408 2.701
3.384 2.705
3.359 2.708
3.335 2.708
END
7 65 0 N 372 1 1 100 100 0 0 0 Y
USER_DAT FromImport
11.335 2.708
11.31 2.705
11.286 2.701
11.263 2.693
11.24 2.684
11.218 2.672
11.198 2.659
11.179 2.643
11.162 2.626
11.146 2.607
11.133 2.587
11.121 2.565
11.112 2.542
11.104 2.519
11.1 2.495
11.097 2.47
11.097 2.446
11.1 2.421
11.104 2.397
11.112 2.374
11.121 2.351
11.133 2.329
11.146 2.309
11.162 2.29
11.179 2.273
11.198 2.257
11.218 2.244
11.24 2.232
11.263 2.223
11.286 2.215
11.31 2.211
11.335 2.208
11.359 2.208
11.384 2.211
11.408 2.215
11.431 2.223
11.454 2.232
11.476 2.244
11.496 2.257
11.515 2.273
11.532 2.29
11.548 2.309
11.561 2.329
11.573 2.351
11.582 2.374
11.59 2.397
11.594 2.421
11.597 2.446
11.597 2.47
11.594 2.495
11.59 2.519
11.582 2.542
11.573 2.565
11.561 2.587
11.548 2.607
11.532 2.626
11.515 2.643
11.496 2.659
11.476 2.672
11.454 2.684
11.431 2.693
11.408 2.701
11.384 2.705
11.359 2.708
11.335 2.708
END
7 65 0 N 373 1 1 100 100 0 0 0 Y
USER_DAT FromImport
3.335 1.958
3.31 1.955
3.286 1.951
3.263 1.943
3.24 1.934
3.218 1.922
3.198 1.909
3.179 1.893
3.162 1.876
3.146 1.857
3.133 1.837
3.121 1.815
3.112 1.792
3.104 1.769
3.1 1.745
3.097 1.72
3.097 1.696
3.1 1.671
3.104 1.647
3.112 1.624
3.121 1.601
3.133 1.579
3.146 1.559
3.162 1.54
3.179 1.523
3.198 1.507
3.218 1.494
3.24 1.482
3.263 1.473
3.286 1.465
3.31 1.461
3.335 1.458
3.359 1.458
3.384 1.461
3.408 1.465
3.431 1.473
3.454 1.482
3.476 1.494
3.496 1.507
3.515 1.523
3.532 1.54
3.548 1.559
3.561 1.579
3.573 1.601
3.582 1.624
3.59 1.647
3.594 1.671
3.597 1.696
3.597 1.72
3.594 1.745
3.59 1.769
3.582 1.792
3.573 1.815
3.561 1.837
3.548 1.857
3.532 1.876
3.515 1.893
3.496 1.909
3.476 1.922
3.454 1.934
3.431 1.943
3.408 1.951
3.384 1.955
3.359 1.958
3.335 1.958
END
7 65 0 N 374 1 1 100 100 0 0 0 Y
USER_DAT FromImport
11.335 1.958
11.31 1.955
11.286 1.951
11.263 1.943
11.24 1.934
11.218 1.922
11.198 1.909
11.179 1.893
11.162 1.876
11.146 1.857
11.133 1.837
11.121 1.815
11.112 1.792
11.104 1.769
11.1 1.745
11.097 1.72
11.097 1.696
11.1 1.671
11.104 1.647
11.112 1.624
11.121 1.601
11.133 1.579
11.146 1.559
11.162 1.54
11.179 1.523
11.198 1.507
11.218 1.494
11.24 1.482
11.263 1.473
11.286 1.465
11.31 1.461
11.335 1.458
11.359 1.458
11.384 1.461
11.408 1.465
11.431 1.473
11.454 1.482
11.476 1.494
11.496 1.507
11.515 1.523
11.532 1.54
11.548 1.559
11.561 1.579
11.573 1.601
11.582 1.624
11.59 1.647
11.594 1.671
11.597 1.696
11.597 1.72
11.594 1.745
11.59 1.769
11.582 1.792
11.573 1.815
11.561 1.837
11.548 1.857
11.532 1.876
11.515 1.893
11.496 1.909
11.476 1.922
11.454 1.934
11.431 1.943
11.408 1.951
11.384 1.955
11.359 1.958
11.335 1.958
END
8 55 5 N 428 1 1 100 100 0 0 0 Y
TLAYNAM B.Cu_thick INH
USER_DAT FromImport
6.235 3.083
6.21 3.08
6.186 3.076
6.163 3.068
6.14 3.059
6.118 3.047
6.098 3.034
6.079 3.018
6.062 3.001
6.047 2.983
4.447 2.983
4.447 2.683
6.047 2.683
6.062 2.665
6.079 2.648
6.098 2.632
6.118 2.619
6.14 2.607
6.163 2.598
6.186 2.59
6.21 2.586
6.235 2.583
6.259 2.583
6.284 2.586
6.308 2.59
6.331 2.598
6.354 2.607
6.376 2.619
6.396 2.632
6.415 2.648
6.432 2.665
6.448 2.684
6.461 2.704
6.473 2.726
6.482 2.749
6.49 2.772
6.494 2.796
6.497 2.821
6.497 2.845
6.494 2.87
6.49 2.894
6.482 2.917
6.473 2.94
6.461 2.962
6.448 2.982
6.432 3.001
6.415 3.018
6.396 3.034
6.376 3.047
6.354 3.059
6.331 3.068
6.308 3.076
6.284 3.08
6.259 3.083
6.235 3.083
END
8 159 5 N 431 1 1 100 100 0 0 0 Y
TLAYNAM B.Cu_thick INH
USER_DAT FromImport
3.625 2.038
3.621 2.037
3.617 2.035
3.613 2.034
3.609 2.032
3.605 2.029
3.489 1.913
3.476 1.922
3.454 1.934
3.431 1.943
3.408 1.951
3.384 1.955
3.359 1.958
3.335 1.958
3.31 1.955
3.286 1.951
3.263 1.943
3.24 1.934
3.218 1.922
3.198 1.909
3.179 1.893
3.162 1.876
3.146 1.857
3.133 1.837
3.121 1.815
3.112 1.792
3.104 1.769
3.1 1.745
3.097 1.72
3.097 1.696
3.1 1.671
3.104 1.647
3.112 1.624
3.121 1.601
3.133 1.579
3.146 1.559
3.162 1.54
3.179 1.523
3.198 1.507
3.218 1.494
3.24 1.482
3.263 1.473
3.286 1.465
3.31 1.461
3.335 1.458
3.359 1.458
3.384 1.461
3.408 1.465
3.431 1.473
3.454 1.482
3.476 1.494
3.496 1.507
3.515 1.523
3.532 1.54
3.548 1.559
3.561 1.579
3.573 1.601
3.582 1.624
3.59 1.647
3.594 1.671
3.597 1.696
3.597 1.72
3.594 1.745
3.59 1.769
3.582 1.792
3.573 1.815
3.561 1.837
3.552 1.85
3.65 1.948
3.869 1.948
4.02 1.797
4.024 1.794
4.028 1.792
4.032 1.791
4.036 1.789
4.04 1.788
4.447 1.788
4.447 1.683
6.047 1.683
6.047 1.763
8.447 1.763
8.447 1.683
10.047 1.683
10.047 1.763
11.103 1.763
11.1 1.745
11.097 1.72
11.097 1.696
11.1 1.671
11.104 1.647
11.112 1.624
11.121 1.601
11.133 1.579
11.146 1.559
11.162 1.54
11.179 1.523
11.198 1.507
11.218 1.494
11.24 1.482
11.263 1.473
11.286 1.465
11.31 1.461
11.335 1.458
11.359 1.458
11.384 1.461
11.408 1.465
11.431 1.473
11.454 1.482
11.476 1.494
11.496 1.507
11.515 1.523
11.532 1.54
11.548 1.559
11.561 1.579
11.573 1.601
11.582 1.624
11.59 1.647
11.594 1.671
11.597 1.696
11.597 1.72
11.594 1.745
11.59 1.769
11.582 1.792
11.573 1.815
11.561 1.837
11.548 1.857
11.532 1.876
11.515 1.893
11.496 1.909
11.476 1.922
11.454 1.934
11.431 1.943
11.408 1.951
11.384 1.955
11.359 1.958
11.335 1.958
11.31 1.955
11.286 1.951
11.263 1.943
11.24 1.934
11.218 1.922
11.198 1.909
11.191 1.903
10.047 1.903
10.047 1.983
8.447 1.983
8.447 1.903
6.047 1.903
6.047 1.983
4.447 1.983
4.447 1.878
4.065 1.878
3.914 2.029
3.91 2.032
3.906 2.034
3.902 2.035
3.898 2.037
3.894 2.038
3.625 2.038
END
8 161 5 N 430 1 1 100 100 0 0 0 Y
TLAYNAM B.Cu_thick INH
USER_DAT FromImport
3.335 2.708
3.31 2.705
3.286 2.701
3.263 2.693
3.24 2.684
3.218 2.672
3.198 2.659
3.179 2.643
3.162 2.626
3.146 2.607
3.133 2.587
3.121 2.565
3.112 2.542
3.104 2.519
3.1 2.495
3.097 2.47
3.097 2.446
3.1 2.421
3.104 2.397
3.112 2.374
3.121 2.351
3.133 2.329
3.146 2.309
3.162 2.29
3.179 2.273
3.198 2.257
3.218 2.244
3.24 2.232
3.263 2.223
3.286 2.215
3.31 2.211
3.335 2.208
3.359 2.208
3.384 2.211
3.408 2.215
3.431 2.223
3.454 2.232
3.476 2.244
3.489 2.253
3.605 2.137
3.609 2.134
3.613 2.132
3.617 2.131
3.621 2.129
3.625 2.128
3.894 2.128
3.898 2.129
3.902 2.131
3.906 2.132
3.91 2.134
3.914 2.137
3.923 2.146
3.926 2.15
4.065 2.288
4.447 2.288
4.447 2.183
6.047 2.183
6.047 2.263
8.447 2.263
8.447 2.183
10.047 2.183
10.047 2.263
11.191 2.263
11.198 2.257
11.218 2.244
11.24 2.232
11.263 2.223
11.286 2.215
11.31 2.211
11.335 2.208
11.359 2.208
11.384 2.211
11.408 2.215
11.431 2.223
11.454 2.232
11.476 2.244
11.496 2.257
11.515 2.273
11.532 2.29
11.548 2.309
11.561 2.329
11.573 2.351
11.582 2.374
11.59 2.397
11.594 2.421
11.597 2.446
11.597 2.47
11.594 2.495
11.59 2.519
11.582 2.542
11.573 2.565
11.561 2.587
11.548 2.607
11.532 2.626
11.515 2.643
11.496 2.659
11.476 2.672
11.454 2.684
11.431 2.693
11.408 2.701
11.384 2.705
11.359 2.708
11.335 2.708
11.31 2.705
11.286 2.701
11.263 2.693
11.24 2.684
11.218 2.672
11.198 2.659
11.179 2.643
11.162 2.626
11.146 2.607
11.133 2.587
11.121 2.565
11.112 2.542
11.104 2.519
11.1 2.495
11.097 2.47
11.097 2.446
11.1 2.421
11.103 2.403
10.047 2.403
10.047 2.483
8.447 2.483
8.447 2.403
6.047 2.403
6.047 2.483
4.447 2.483
4.447 2.378
4.04 2.378
4.036 2.377
4.032 2.375
4.028 2.374
4.024 2.372
4.02 2.369
3.869 2.218
3.65 2.218
3.552 2.316
3.561 2.329
3.573 2.351
3.582 2.374
3.59 2.397
3.594 2.421
3.597 2.446
3.597 2.47
3.594 2.495
3.59 2.519
3.582 2.542
3.573 2.565
3.561 2.587
3.548 2.607
3.532 2.626
3.515 2.643
3.496 2.659
3.476 2.672
3.454 2.684
3.431 2.693
3.408 2.701
3.384 2.705
3.359 2.708
3.335 2.708
END
8 55 5 N 429 1 1 100 100 0 0 0 Y
TLAYNAM B.Cu_thick INH
USER_DAT FromImport
8.235 3.083
8.21 3.08
8.186 3.076
8.163 3.068
8.14 3.059
8.118 3.047
8.098 3.034
8.079 3.018
8.062 3.001
8.046 2.982
8.033 2.962
8.021 2.94
8.012 2.917
8.004 2.894
8 2.87
7.997 2.845
7.997 2.821
8 2.796
8.004 2.772
8.012 2.749
8.021 2.726
8.033 2.704
8.046 2.684
8.062 2.665
8.079 2.648
8.098 2.632
8.118 2.619
8.14 2.607
8.163 2.598
8.186 2.59
8.21 2.586
8.235 2.583
8.259 2.583
8.284 2.586
8.308 2.59
8.331 2.598
8.354 2.607
8.376 2.619
8.396 2.632
8.415 2.648
8.432 2.665
8.447 2.683
10.047 2.683
10.047 2.983
8.447 2.983
8.432 3.001
8.415 3.018
8.396 3.034
8.376 3.047
8.354 3.059
8.331 3.068
8.308 3.076
8.284 3.08
8.259 3.083
8.235 3.083
END
END GEO
OPT
MAX 3.0559e7
END OPT
VARSWP
ENABLED Y
FREQ Y AY ABS_ENTRY 0.01 1.0 -1 300 
END
END VARSWP
```
